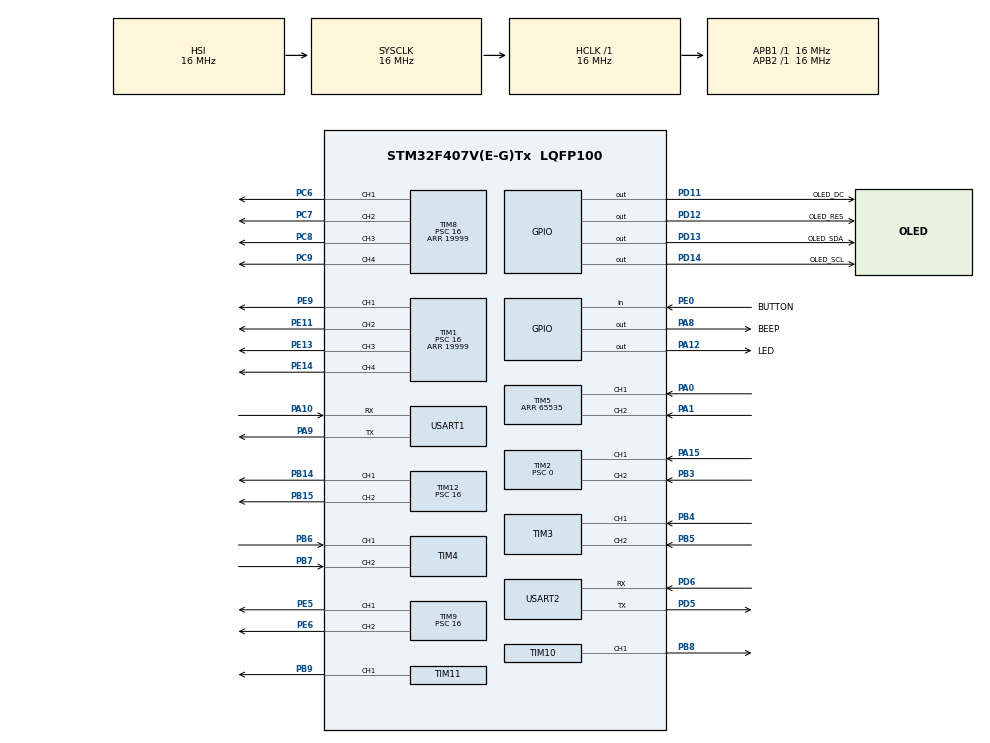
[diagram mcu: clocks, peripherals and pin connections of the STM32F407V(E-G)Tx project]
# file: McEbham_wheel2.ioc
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Mcu.Family=STM32F4
Mcu.Name=STM32F407V(E-G)Tx
Mcu.Package=LQFP100
NVIC.PriorityGroup=NVIC_PRIORITYGROUP_4
NVIC.TIM7_IRQn=true\:1\:0\:true\:false\:true\:true\:true
NVIC.USART1_IRQn=true\:0\:0\:true\:false\:true\:true\:true
NVIC.USART2_IRQn=true\:0\:0\:false\:false\:true\:true\:true
PA0-WKUP.Signal=S_TIM5_CH1
PA1.Signal=S_TIM5_CH2
PA10.Mode=Asynchronous
PA10.Signal=USART1_RX
PA12.GPIO_Label=LED
PA12.Signal=GPIO_Output
PA15.Signal=S_TIM2_CH1_ETR
PA8.GPIO_Label=BEEP
PA8.Signal=GPIO_Output
PA9.Mode=Asynchronous
PA9.Signal=USART1_TX
PB14.Signal=S_TIM12_CH1
PB15.Signal=S_TIM12_CH2
PB3.Signal=S_TIM2_CH2
PB4.Signal=S_TIM3_CH1
PB5.Signal=S_TIM3_CH2
PB6.Signal=S_TIM4_CH1
PB7.Signal=S_TIM4_CH2
PB8.Signal=S_TIM10_CH1
PB9.Signal=S_TIM11_CH1
PC6.Signal=S_TIM8_CH1
PC7.Signal=S_TIM8_CH2
PC8.Signal=S_TIM8_CH3
PC9.Signal=S_TIM8_CH4
PD11.GPIO_Label=OLED_DC
PD11.Signal=GPIO_Output
PD12.GPIO_Label=OLED_RES
PD12.Signal=GPIO_Output
PD13.GPIO_Label=OLED_SDA
PD13.Signal=GPIO_Output
PD14.GPIO_Label=OLED_SCL
PD14.Signal=GPIO_Output
PD5.Mode=Asynchronous
PD5.Signal=USART2_TX
PD6.Mode=Asynchronous
PD6.Signal=USART2_RX
PE0.GPIO_Label=BUTTON
PE0.Signal=GPIO_Input
PE11.Signal=S_TIM1_CH2
PE13.Signal=S_TIM1_CH3
PE14.Signal=S_TIM1_CH4
PE5.Signal=S_TIM9_CH1
PE6.Signal=S_TIM9_CH2
PE9.Signal=S_TIM1_CH1
ProjectManager.HeapSize=0x200
ProjectManager.StackSize=0x400
ProjectManager.TargetToolchain=MDK-ARM V5.32
RCC.AHBFreq_Value=16000000
RCC.APB1Freq_Value=16000000
RCC.APB2Freq_Value=16000000
RCC.CortexFreq_Value=16000000
RCC.HSE_VALUE=25000000
RCC.HSI_VALUE=16000000
RCC.LSE_VALUE=32768
RCC.SYSCLKFreq_VALUE=16000000
RCC.VCOOutputFreq_Value=192000000
SH.S_TIM10_CH1.0=TIM10_CH1,PWM Generation1 CH1
SH.S_TIM11_CH1.0=TIM11_CH1,PWM Generation1 CH1
SH.S_TIM12_CH1.0=TIM12_CH1,PWM Generation1 CH1
SH.S_TIM12_CH2.0=TIM12_CH2,PWM Generation2 CH2
SH.S_TIM1_CH1.0=TIM1_CH1,PWM Generation1 CH1
SH.S_TIM1_CH2.0=TIM1_CH2,PWM Generation2 CH2
SH.S_TIM1_CH3.0=TIM1_CH3,PWM Generation3 CH3
SH.S_TIM1_CH4.0=TIM1_CH4,PWM Generation4 CH4
SH.S_TIM2_CH1_ETR.0=TIM2_CH1,Encoder_Interface
SH.S_TIM2_CH2.0=TIM2_CH2,Encoder_Interface
SH.S_TIM3_CH1.0=TIM3_CH1,Encoder_Interface
SH.S_TIM3_CH2.0=TIM3_CH2,Encoder_Interface
SH.S_TIM4_CH1.0=TIM4_CH1,Encoder_Interface
SH.S_TIM4_CH2.0=TIM4_CH2,Encoder_Interface
SH.S_TIM5_CH1.0=TIM5_CH1,Encoder_Interface
SH.S_TIM5_CH2.0=TIM5_CH2,Encoder_Interface
SH.S_TIM8_CH1.0=TIM8_CH1,PWM Generation1 CH1
SH.S_TIM8_CH2.0=TIM8_CH2,PWM Generation2 CH2
SH.S_TIM8_CH3.0=TIM8_CH3,PWM Generation3 CH3
SH.S_TIM8_CH4.0=TIM8_CH4,PWM Generation4 CH4
SH.S_TIM9_CH1.0=TIM9_CH1,PWM Generation1 CH1
SH.S_TIM9_CH2.0=TIM9_CH2,PWM Generation2 CH2
TIM1.AutoReloadPreload=TIM_AUTORELOAD_PRELOAD_ENABLE
TIM1.Channel-PWM\ Generation1\ CH1=TIM_CHANNEL_1
TIM1.Channel-PWM\ Generation2\ CH2=TIM_CHANNEL_2
TIM1.Channel-PWM\ Generation3\ CH3=TIM_CHANNEL_3
TIM1.Channel-PWM\ Generation4\ CH4=TIM_CHANNEL_4
TIM1.Period=19999
TIM1.Prescaler=16
TIM10.AutoReloadPreload=TIM_AUTORELOAD_PRELOAD_ENABLE
TIM10.Channel=TIM_CHANNEL_1
TIM10.Period=19999
TIM10.Prescaler=16
TIM11.AutoReloadPreload=TIM_AUTORELOAD_PRELOAD_ENABLE
TIM11.Channel=TIM_CHANNEL_1
TIM11.Period=19999
TIM11.Prescaler=16
TIM12.AutoReloadPreload=TIM_AUTORELOAD_PRELOAD_ENABLE
TIM12.Channel-PWM\ Generation1\ CH1=TIM_CHANNEL_1
TIM12.Channel-PWM\ Generation2\ CH2=TIM_CHANNEL_2
TIM12.Period=19999
TIM12.Prescaler=16
TIM2.AutoReloadPreload=TIM_AUTORELOAD_PRELOAD_ENABLE
TIM2.EncoderMode=TIM_ENCODERMODE_TI12
TIM2.Period=65535
TIM2.Prescaler=0
TIM3.AutoReloadPreload=TIM_AUTORELOAD_PRELOAD_ENABLE
TIM3.EncoderMode=TIM_ENCODERMODE_TI12
TIM4.AutoReloadPreload=TIM_AUTORELOAD_PRELOAD_ENABLE
TIM4.EncoderMode=TIM_ENCODERMODE_TI12
TIM5.AutoReloadPreload=TIM_AUTORELOAD_PRELOAD_ENABLE
TIM5.EncoderMode=TIM_ENCODERMODE_TI12
TIM5.Period=65535
TIM7.AutoReloadPreload=TIM_AUTORELOAD_PRELOAD_ENABLE
TIM7.Period=19999
TIM7.Prescaler=3
TIM8.AutoReloadPreload=TIM_AUTORELOAD_PRELOAD_ENABLE
TIM8.Channel-PWM\ Generation1\ CH1=TIM_CHANNEL_1
TIM8.Channel-PWM\ Generation2\ CH2=TIM_CHANNEL_2
TIM8.Channel-PWM\ Generation3\ CH3=TIM_CHANNEL_3
TIM8.Channel-PWM\ Generation4\ CH4=TIM_CHANNEL_4
TIM8.Period=19999
TIM8.Prescaler=16
TIM9.AutoReloadPreload=TIM_AUTORELOAD_PRELOAD_ENABLE
TIM9.Channel-PWM\ Generation1\ CH1=TIM_CHANNEL_1
TIM9.Channel-PWM\ Generation2\ CH2=TIM_CHANNEL_2
TIM9.Period=19999
TIM9.Prescaler=16
USART1.VirtualMode=VM_ASYNC
USART2.VirtualMode=VM_ASYNC
VP_TIM10_VS_ClockSourceINT.Mode=Enable_Timer
VP_TIM11_VS_ClockSourceINT.Mode=Enable_Timer
VP_TIM1_VS_ClockSourceINT.Mode=Internal
VP_TIM7_VS_ClockSourceINT.Mode=Enable_Timer
VP_TIM9_VS_ClockSourceINT.Mode=Internal
board=custom

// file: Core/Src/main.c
/* USER CODE BEGIN Header */
/**
  ******************************************************************************
  * @file           : main.c
  * @brief          : Main program body
  ******************************************************************************
  * @attention
  *
  * Copyright (c) 2022 STMicroelectronics.
  * All rights reserved.
  *
  * This software is licensed under terms that can be found in the LICENSE file
  * in the root directory of this software component.
  * If no LICENSE file comes with this software, it is provided AS-IS.
  *
  ******************************************************************************
  */
/* USER CODE END Header */
#include "main.h"
#include "tim.h"
#include "usart.h"
#include "gpio.h"

/* USER CODE BEGIN Includes */
#include <stdio.h>
#include <string.h>
#include <math.h>
#include "pid.h"
#include "motor.h"
#include "openmv.h"
#include "oled.h"
/* USER CODE END Includes */

/* USER CODE BEGIN PD */
#define KP 14000.0 // 关闭Ti,Td,把Kp调大，直到出现一次超调（一次震荡）为止
#define TI 50 //Ti消除静态误差，震荡说明Ki参数太大
#define TD 1 //加上之后好像更稳了（错觉
/* USER CODE END PD */

/* USER CODE BEGIN PV */
float currentVelocity1;//测得电机A转速
float targetVelocity1;//目标电机A转速

float currentVelocity2;//测得电机B转速
float targetVelocity2;//目标电机B转速

float currentVelocity3;//测得电机C转速
float targetVelocity3;//目标电机C转速

float currentVelocity4;//测得电机D转速
float targetVelocity4;//目标电机D转速

int time = 0;
int key_state=0;//按钮状态
uint8_t usart2_rxbuff;

uint8_t cx=0,cy=0,cw=0,ch=0,state=0,sequency=0;//从openmv接收到的6种数据
int seq_arr[3]={0};//将不同的sequency对应成不同的抓取顺序
int location=0;//小车所在位置,取值为0，1，2，0表示在货物区1
int move_distance=0;//小车到达目标位置需要移动的距离
int color[3];//每个位置所对应的color,由openmv获取
/* USER CODE END PV */

void SystemClock_Config(void);
/* USER CODE BEGIN PFP */
void JustFloat_Send(float* send);
/* USER CODE END PFP */

/* USER CODE BEGIN 0 */
/*JustFloat协议通信(vofa)*/
void JustFloat_Send(float* send)
{
	uint8_t temp[8];
	memcpy(temp, send, sizeof(float));
	temp[4] = 0x00;
	temp[5] = 0x00;
	temp[6] = 0x80;
	temp[7] = 0x7f;
	HAL_UART_Transmit(&huart1,temp,sizeof(temp),2);
}
/*printf重定向*/
int fputc(int ch, FILE *f)
{
	uint8_t temp[1] = {ch};
	HAL_UART_Transmit(&huart1, temp, 1, 2);
	return ch;
}

/* USER CODE END 0 */

int main(void)
{

  /* MCU Configuration--------------------------------------------------------*/

  /* Reset of all peripherals, Initializes the Flash interface and the Systick. */
  HAL_Init();

  /* USER CODE BEGIN Init */
	//uint8_t temp = 0x12;
  /* USER CODE END Init */

  /* Configure the system clock */
  SystemClock_Config();

  /* Initialize all configured peripherals */
  MX_GPIO_Init();
  MX_TIM10_Init();
  MX_TIM11_Init();
  MX_TIM9_Init();
  MX_TIM1_Init();
  MX_TIM2_Init();
  MX_TIM3_Init();
  MX_TIM4_Init();
  MX_TIM5_Init();
  MX_USART1_UART_Init();
  MX_TIM12_Init();
  MX_USART2_UART_Init();
  MX_TIM8_Init();
  MX_TIM7_Init();
  /* USER CODE BEGIN 2 */
  Motor_Init();
  HAL_TIM_Base_Start_IT(&htim7);// 使能定时器7中断
  OLED_Init();
  OLED_Display_On();

  /* USER CODE END 2 */

  /* Infinite loop */
  /* USER CODE BEGIN WHILE */

  while (1)
  {
		//printf("%f,%f,%f,%f,%f,%d\n",currentVelocity1, currentVelocity2, currentVelocity3, currentVelocity4, TARGET_VELOCITY, time);
		HAL_UART_Receive_IT(&huart2,(void *)&usart2_rxbuff,1);
		OLED_Refresh_Gram();
		OLED_ShowNumber(0,0,cx,3,12);
		OLED_ShowNumber(0,15,cy,3,12);
		OLED_ShowNumber(0,30,cw,3,12);
		OLED_ShowNumber(0,45,ch,3,12);
		OLED_ShowNumber(30,0,state,1,12);
		OLED_ShowNumber(30,15,sequency,1,12);
		OLED_ShowNumber(30,30,seq_arr[0],1,12);
		OLED_ShowNumber(45,30,seq_arr[1],1,12);
		OLED_ShowNumber(60,30,seq_arr[2],1,12);
		if(!HAL_GPIO_ReadPin(BUTTON_GPIO_Port,BUTTON_Pin))
		{
			HAL_Delay(50);
			while(!HAL_GPIO_ReadPin(BUTTON_GPIO_Port,BUTTON_Pin))
				;
			HAL_Delay(50);
			if(key_state==0)
			{
				key_state=1;
			}
			else
			{
				key_state=0;
			}

		}
		if(key_state)
		{
			while(sequency==0);
			if(sequency==1)
			{
				seq_arr[0]=1;
				seq_arr[1]=2;
				seq_arr[2]=3;
			}
			else if(sequency==2)
			{
				seq_arr[0]=1;
				seq_arr[1]=3;
				seq_arr[2]=2;
			}
			else if(sequency==3)
			{
				seq_arr[0]=3;
				seq_arr[1]=2;
				seq_arr[2]=1;
			}
			else if(sequency==4)
			{
				seq_arr[0]=3;
				seq_arr[1]=1;
				seq_arr[2]=2;
			}
			else if(sequency==5)
			{
				seq_arr[0]=2;
				seq_arr[1]=1;
				seq_arr[2]=3;
			}
			else if(sequency==6)
			{
				seq_arr[0]=2;
				seq_arr[1]=3;
				seq_arr[2]=1;
			}
			else
			{
				OLED_ShowString(0,0,"Enter a number between");
				OLED_ShowString(0,20,"1 and 6 !");
			}
			HAL_GPIO_WritePin(BEEP_GPIO_Port,BEEP_Pin,GPIO_PIN_SET);
			HAL_Delay(500);
			HAL_GPIO_WritePin(BEEP_GPIO_Port,BEEP_Pin,GPIO_PIN_RESET);
		 	Motor_Move_Time(1250,0,0,0.005);//转90
			HAL_Delay(500);
		 	Motor_Move_Time(1000,0,1,0);//进入货物区位置1
		 	color[0]=state;
		 	if(color[0]==seq_arr[0])
		 	{
				Motor_Calibration(cx+cw,100,0.3,3);
				Servo_Grab();
				Servo_Put_Down();
		 	}
		// 	Motor_Move_Time(1250,0,1,0);
		// 	location++;
		// 	color[1]=state;
		// 	if(color[1]==seq_arr[0])
		// 	{
		// 	/*抓取1——code*/
		// 	}
		// 	Motor_Move_Time(1250,0,1,0);
		// 	location++;
		// 	color[2]=state;
		// 	if(color[2]==seq_arr[0])
		// 	{
		// 	/*抓取1——code*/
		// 	}
		// 	/*抓取1结束，抓取2开始*/
		// 	if(color[0]==seq_arr[1])
		// 	{
		// 		move_distance=location;

		// 		/*抓取2——code*/
		// 	}
		// 	else if(color[1]==seq_arr[1])
		// 	{
		// 		move_distance=location-1;

		// 		/*抓取2——code*/
		// 	}
		// 	else if(color[2]==seq_arr[1])
		// 	{
		// 		move_distance=location-2;

		// 	}
		// 	location-=move_distance;
		// /*抓取2结束，抓取3开始*/
		// 	if(color[0]==seq_arr[2])
		// 	{
		// 		move_distance=location;
		// 		/*抓取3——code*/

		// 	}
		// 	else if(color[1]==seq_arr[2])
		// 	{
		// 		move_distance=location-1;
		// 		/*抓取3——code*/
		// 	}
		// 	else if(color[2]==seq_arr[2])
		// 	{
		// 		move_distance=location-2;
		// 		/*抓取2——code*/
		// 	}
			key_state=0;
		}

		//HAL_GPIO_WritePin(BEEP_GPIO_Port,BEEP_Pin,GPIO_PIN_SET);
		//printf("Velocity1:%.2f  Velocity2:%.2f  Velocity3:%.2f  Velocity4:%.2f\n",currentVelocity1, currentVelocity2, currentVelocity3, currentVelocity4);
    /* USER CODE END WHILE */
	}
}

void SystemClock_Config(void)
{
  RCC_OscInitTypeDef RCC_OscInitStruct = {0};
  RCC_ClkInitTypeDef RCC_ClkInitStruct = {0};

  /** Configure the main internal regulator output voltage
  */
  __HAL_RCC_PWR_CLK_ENABLE();
  __HAL_PWR_VOLTAGESCALING_CONFIG(PWR_REGULATOR_VOLTAGE_SCALE1);
  /** Initializes the RCC Oscillators according to the specified parameters
  * in the RCC_OscInitTypeDef structure.
  */
  RCC_OscInitStruct.OscillatorType = RCC_OSCILLATORTYPE_HSI;
  RCC_OscInitStruct.HSIState = RCC_HSI_ON;
  RCC_OscInitStruct.HSICalibrationValue = RCC_HSICALIBRATION_DEFAULT;
  RCC_OscInitStruct.PLL.PLLState = RCC_PLL_NONE;
  if (HAL_RCC_OscConfig(&RCC_OscInitStruct) != HAL_OK)
  {
    Error_Handler();
  }
  /** Initializes the CPU, AHB and APB buses clocks
  */
  RCC_ClkInitStruct.ClockType = RCC_CLOCKTYPE_HCLK|RCC_CLOCKTYPE_SYSCLK
                              |RCC_CLOCKTYPE_PCLK1|RCC_CLOCKTYPE_PCLK2;
  RCC_ClkInitStruct.SYSCLKSource = RCC_SYSCLKSOURCE_HSI;
  RCC_ClkInitStruct.AHBCLKDivider = RCC_SYSCLK_DIV1;
  RCC_ClkInitStruct.APB1CLKDivider = RCC_HCLK_DIV1;
  RCC_ClkInitStruct.APB2CLKDivider = RCC_HCLK_DIV1;

  if (HAL_RCC_ClockConfig(&RCC_ClkInitStruct, FLASH_LATENCY_0) != HAL_OK)
  {
    Error_Handler();
  }
}

/* USER CODE BEGIN 4 */
void HAL_TIM_PeriodElapsedCallback(TIM_HandleTypeDef *htim)
{

    if (htim == (&htim7))
    {
        int output1, output2, output3, output4;

		//获取电机A速度
		currentVelocity1 = Motor_Reverse(65535, &htim2, 0);	//A电机正转时会溢出，故mode取0
		__HAL_TIM_SET_COUNTER(&htim2,0);  // 计数器清零

		//控制电机A速度
		output1 = pidController1(targetVelocity1, currentVelocity1, KP, TI, TD);
		if(output1>0)
		{
			__HAL_TIM_SetCompare(&htim10, TIM_CHANNEL_1, output1);
			__HAL_TIM_SetCompare(&htim11,TIM_CHANNEL_1,0);
		}
		else
		{
			__HAL_TIM_SetCompare(&htim11, TIM_CHANNEL_1, -output1);
			__HAL_TIM_SetCompare(&htim10,TIM_CHANNEL_1,0);
		}

		//获取电机B速度
        currentVelocity2 = Motor_Reverse(65535, &htim3, 0); //B电机正转时会溢出，故mode取0
        __HAL_TIM_SET_COUNTER(&htim3,0);  // 计数器清零

		//控制电机B速度
		output2 = pidController2(targetVelocity2, currentVelocity2, KP, TI, TD);
		if(output2>0)
		{
			__HAL_TIM_SetCompare(&htim9, TIM_CHANNEL_2, output2);
			__HAL_TIM_SetCompare(&htim9,TIM_CHANNEL_1,0);
		}
		else
		{
			__HAL_TIM_SetCompare(&htim9, TIM_CHANNEL_1, -output2);
			__HAL_TIM_SetCompare(&htim9,TIM_CHANNEL_2,0);
		}

		//获取电机C速度
        currentVelocity3 = Motor_Reverse(65535, &htim4, 1);
        __HAL_TIM_SET_COUNTER(&htim4,0);  // 计数器清零

		//控制电机C速度
		output3 = pidController3(targetVelocity3, currentVelocity3, KP, TI, TD);
		if(output3>0)
		{
			__HAL_TIM_SetCompare(&htim1, TIM_CHANNEL_1, output3);
			__HAL_TIM_SetCompare(&htim1,TIM_CHANNEL_2,0);
		}
		else
		{
			__HAL_TIM_SetCompare(&htim1, TIM_CHANNEL_2, -output3);
			__HAL_TIM_SetCompare(&htim1,TIM_CHANNEL_1,0);
		}
		//获取电机D速度
        currentVelocity4 = Motor_Reverse(65535, &htim5, 1);
        __HAL_TIM_SET_COUNTER(&htim5,0);  // 计数器清零

		//控制电机D速度
		output4 = pidController4(targetVelocity4, currentVelocity4, KP, TI, TD);
		if(output4>0)
		{
			__HAL_TIM_SetCompare(&htim1, TIM_CHANNEL_4, output4);
			__HAL_TIM_SetCompare(&htim1,TIM_CHANNEL_3,0);
		}
		else
		{
			__HAL_TIM_SetCompare(&htim1, TIM_CHANNEL_3, -output4);
			__HAL_TIM_SetCompare(&htim1,TIM_CHANNEL_4,0);
		}
		time += 5;
    }
}

void HAL_UART_RxCpltCallback(UART_HandleTypeDef *huart)
{
	uint16_t tem;
	if(huart->Instance==USART2)
	{
		tem=usart2_rxbuff;
		OpenMV_Data_Receive(tem);
	}
	HAL_UART_Receive_IT(&huart2,(void *)&usart2_rxbuff,1);
}

/* USER CODE END 4 */

void Error_Handler(void)
{
  __disable_irq();
  while (1)
  {
  }
}
